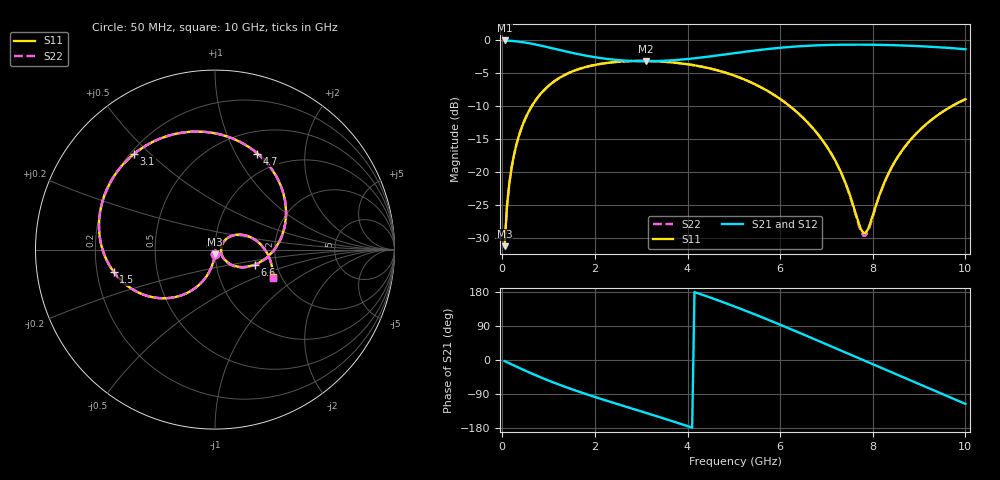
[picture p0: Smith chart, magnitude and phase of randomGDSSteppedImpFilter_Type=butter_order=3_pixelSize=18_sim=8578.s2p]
! freq	dB(S11)	phase(S11)	dB(S12)	phase(S12)
!  dB(S21)	phase(S21)	dB(S22)	phase(S22)
!S-par simulation data
#  GHz  S  DB  R 50
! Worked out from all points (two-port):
!   200 points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, 50 MHz to 10 GHz, reference 50 ohm
!   highest |S21| = -0.01 dB at 50 MHz (marker M1); lowest = -3.2 dB at 3.1 GHz (marker M2)
!   |S21| within 3 dB of the highest: start of sweep to 2.53 GHz; 3.711 GHz to end of sweep
!   lowest |S11| = -31.3 dB at 50 MHz (marker M3), VSWR 1.06, Z = 49.8 - j2.71 ohm
!   |S11| at or under -10 dB: start of sweep to 637 MHz; 6.208 GHz to 9.707 GHz (3.498 GHz wide, 44 % of centre)
!   |S22| runs from -31.3 to -3.1 dB; largest |S21 - S12| = 0
!   S11 on the Smith chart (normalised r, x): 50 MHz: 1.00, -0.05; 1.5 GHz: 0.27, -0.10; 3.1 GHz: 0.21, +0.45; 4.7 GHz: 0.76, +1.23; 6.6 GHz: 1.54, -0.27; 10 GHz: 1.80, -0.64
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0.05  -31.30 -93.1  -0.01 -2.9  -0.01 -2.9  -31.30 -93.1
0.1  -25.31 -96.2  -0.02 -5.8  -0.02 -5.8  -25.31 -96.2
0.2  -19.39 -102.1  -0.07 -11.6  -0.07 -11.6  -19.39 -102.1
0.45  -12.68 -116.2  -0.28 -25.6  -0.28 -25.6  -12.68 -116.2
0.95  -7.22 -142.3  -0.98 -51.8  -0.98 -51.8  -7.22 -142.4
1.5  -4.76 -167.6  -1.88 -77.1  -1.88 -77.1  -4.76 -167.7
1.75  -4.15 -178.1  -2.24 -87.6  -2.24 -87.6  -4.15 -178.2
2.4  -3.31 156.4  -2.92 -113.0  -2.92 -113.0  -3.31 156.3
3.1  -3.12 130.2  -3.17 -139.4  -3.17 -139.4  -3.12 130.1
3.4  -3.20 118.8  -3.13 -150.8  -3.13 -150.8  -3.20 118.7
4.05  -3.68 93.4  -2.80 -176.6  -2.80 -176.6  -3.68 93.2
4.7  -4.66 66.2  -2.24 155.6  -2.24 155.6  -4.66 65.9
5.05  -5.45 50.7  -1.91 139.6  -1.91 139.6  -5.45 50.4
5.9  -8.44 11.3  -1.19 98.2  -1.19 98.2  -8.44 10.9
6.6  -12.53 -20.8  -0.82 62.3  -0.82 62.3  -12.53 -21.5
6.7  -13.30 -25.1  -0.78 57.1  -0.78 57.1  -13.31 -25.9
7.3  -19.86 -45.2  -0.66 25.7  -0.66 25.7  -19.91 -46.4
7.8  -29.30 -6.1  -0.64 -0.6  -0.64 -0.6  -29.73 -6.6
8.35  -20.09 42.2  -0.71 -29.4  -0.71 -29.4  -20.13 42.6
9.2  -12.46 11.6  -0.95 -74.0  -0.95 -74.0  -12.47 11.4
9.6  -10.44 -6.7  -1.12 -94.9  -1.12 -94.9  -10.45 -7.1
10  -8.94 -25.7  -1.33 -115.8  -1.33 -115.8  -8.95 -26.1
